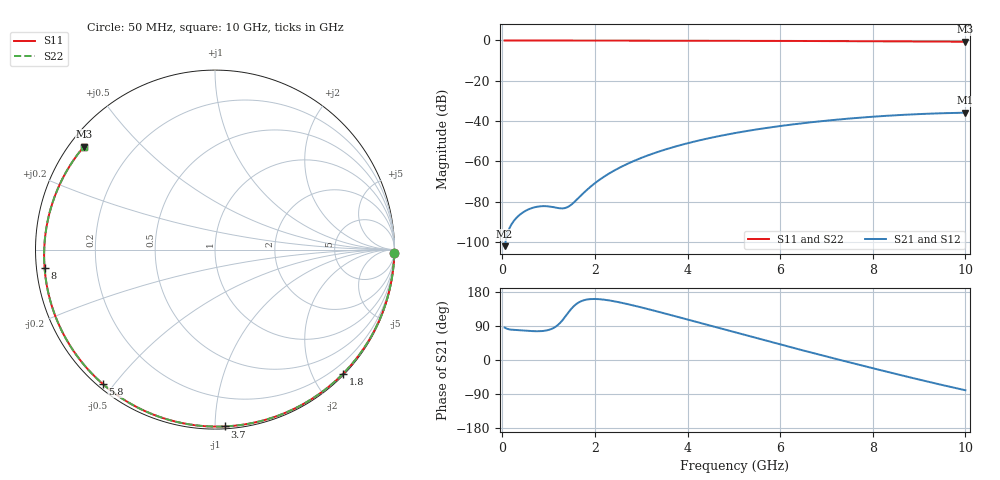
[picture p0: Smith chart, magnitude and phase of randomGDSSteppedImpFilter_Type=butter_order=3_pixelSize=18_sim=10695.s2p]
! freq	dB(S11)	phase(S11)	dB(S12)	phase(S12)
!  dB(S21)	phase(S21)	dB(S22)	phase(S22)
!S-par simulation data
#  GHz  S  DB  R 50
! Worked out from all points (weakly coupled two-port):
!   200 points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, 50 MHz to 10 GHz, reference 50 ohm
!   highest |S21| = -35.86 dB at 10 GHz (marker M1); lowest = -102.1 dB at 50 MHz (marker M2)
!   lowest |S11| = -0.6 dB at 10 GHz (marker M3), VSWR 27.24, Z = 2.05 + j17.3 ohm
!   |S11| at or under -10 dB: nowhere
!   |S22| runs from -0.6 to 0.0 dB; largest |S21 - S12| = 0
!   S11 on the Smith chart (normalised r, x): 50 MHz: 1, -95; 1.8 GHz: 0.02, -2.47; 3.7 GHz: 0.01, -1.06; 5.8 GHz: 0.02, -0.47; 8 GHz: 0.02, -0.05; 10 GHz: 0.04, +0.35
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0.05  -0.00 -1.2  -102.11 85.5  -102.11 85.5  -0.00 -1.2
0.45  -0.02 -11.2  -85.29 77.9  -85.29 77.9  -0.02 -11.2
0.8  -0.03 -19.8  -82.37 76.0  -82.37 76.0  -0.03 -19.8
1.55  -0.05 -38.1  -80.31 142.7  -80.31 142.7  -0.05 -38.1
1.6  -0.05 -39.3  -79.21 147.8  -79.21 147.8  -0.05 -39.3
1.75  -0.05 -42.8  -75.82 157.3  -75.82 157.3  -0.05 -42.8
1.8  -0.06 -44.0  -74.74 158.9  -74.74 158.9  -0.06 -44.0
2.1  -0.07 -51.1  -69.15 160.4  -69.15 160.4  -0.07 -51.1
2.45  -0.08 -59.2  -64.15 154.1  -64.15 154.1  -0.08 -59.2
2.9  -0.09 -69.4  -59.24 141.9  -59.24 141.9  -0.09 -69.4
3.4  -0.11 -80.4  -55.01 126.4  -55.01 126.4  -0.11 -80.4
3.7  -0.12 -86.9  -52.90 116.6  -52.90 116.6  -0.12 -86.9
4.35  -0.14 -100.6  -49.09 95.2  -49.09 95.2  -0.14 -100.6
5.05  -0.17 -114.9  -45.86 72.1  -45.86 72.1  -0.17 -114.9
5.8  -0.22 -129.9  -43.11 47.6  -43.11 47.6  -0.22 -129.9
6.7  -0.28 -147.7  -40.53 18.7  -40.53 18.7  -0.28 -147.7
7.35  -0.34 -160.6  -39.06 -1.6  -39.06 -1.6  -0.34 -160.6
8  -0.40 -173.8  -37.86 -21.7  -37.86 -21.7  -0.40 -173.8
8.35  -0.44 178.9  -37.33 -32.3  -37.33 -32.3  -0.44 178.9
8.8  -0.49 169.3  -36.76 -45.7  -36.76 -45.7  -0.49 169.3
9.2  -0.54 160.5  -36.36 -57.4  -36.36 -57.4  -0.54 160.5
10  -0.64 141.8  -35.86 -79.8  -35.86 -79.8  -0.64 141.8
